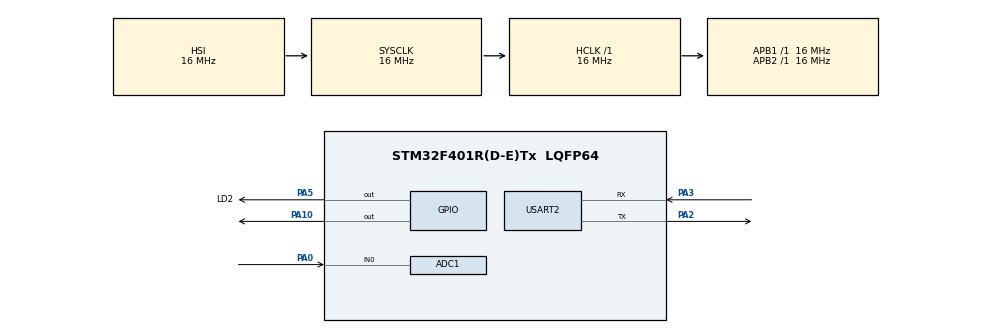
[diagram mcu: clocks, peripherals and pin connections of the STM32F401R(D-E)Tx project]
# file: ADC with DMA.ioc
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ADC1.Channel-4\#ChannelRegularConversion=ADC_CHANNEL_0
ADC1.NbrOfConversionFlag=1
ADC1.Rank-4\#ChannelRegularConversion=1
ADC1.SamplingTime-4\#ChannelRegularConversion=ADC_SAMPLETIME_3CYCLES
ADC1.master=1
Mcu.Family=STM32F4
Mcu.Name=STM32F401R(D-E)Tx
Mcu.Package=LQFP64
NVIC.PriorityGroup=NVIC_PRIORITYGROUP_4
PA0-WKUP.Signal=ADCx_IN0
PA10.Signal=GPIO_Output
PA2.Mode=Asynchronous
PA2.Signal=USART2_TX
PA3.Mode=Asynchronous
PA3.Signal=USART2_RX
PA5.GPIO_Label=LD2
PA5.Signal=GPIO_Output
ProjectManager.HeapSize=0x200
ProjectManager.StackSize=0x400
ProjectManager.TargetToolchain=STM32CubeIDE
RCC.AHBFreq_Value=16000000
RCC.APB1Freq_Value=16000000
RCC.APB2Freq_Value=16000000
RCC.CortexFreq_Value=16000000
RCC.HSE_VALUE=25000000
RCC.HSI_VALUE=16000000
RCC.LSE_VALUE=32768
RCC.SYSCLKFreq_VALUE=16000000
RCC.VCOOutputFreq_Value=192000000
SH.ADCx_IN0.0=ADC1_IN0,IN0
USART2.VirtualMode=VM_ASYNC
board=custom

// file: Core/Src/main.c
/* USER CODE BEGIN Header */
/**
  ******************************************************************************
  * @file           : main.c
  * @brief          : Main program body
  ******************************************************************************
  * @attention
  *
  * <h2><center>&copy; Copyright (c) 2021 STMicroelectronics.
  * All rights reserved.</center></h2>
  *
  * This software component is licensed by ST under BSD 3-Clause license,
  * the "License"; You may not use this file except in compliance with the
  * License. You may obtain a copy of the License at:
  *                        opensource.org/licenses/BSD-3-Clause
  *
  ******************************************************************************
  */
/* USER CODE END Header */
#include "main.h"

/* USER CODE BEGIN Includes */
#include <string.h>
#include <stdio.h>
/* USER CODE END Includes */

/* USER CODE BEGIN PD */
#define ADC_BUF_LEN 4096
/* USER CODE END PD */

ADC_HandleTypeDef hadc1;

UART_HandleTypeDef huart2;

/* USER CODE BEGIN PV */
uint16_t adc_buf[ADC_BUF_LEN];
/* USER CODE END PV */

void SystemClock_Config(void);
static void MX_GPIO_Init(void);
static void MX_ADC1_Init(void);
static void MX_USART2_UART_Init(void);

int main(void)
{

  /* MCU Configuration--------------------------------------------------------*/

  /* Reset of all peripherals, Initializes the Flash interface and the Systick. */
  HAL_Init();

  /* USER CODE BEGIN Init */

  uint16_t raw;
  char msg[10];
  /* USER CODE END Init */

  /* Configure the system clock */
  SystemClock_Config();

  /* Initialize all configured peripherals */
  MX_GPIO_Init();
  MX_ADC1_Init();
  MX_USART2_UART_Init();
  /* USER CODE BEGIN 2 */
  HAL_ADC_Start_DMA(&hadc1, (uint32_t*)adc_buf, ADC_BUF_LEN);
  /* USER CODE END 2 */

  /* Infinite loop */
  /* USER CODE BEGIN WHILE */
  while (1)
  {
	  // Test: Set GPIO pin high
	  HAL_GPIO_WritePin(GPIOA, GPIO_PIN_10, GPIO_PIN_SET);

	  // Get ADC value
	  HAL_ADC_Start(&hadc1);
	  HAL_ADC_PollForConversion(&hadc1, HAL_MAX_DELAY);
	  raw = HAL_ADC_GetValue(&hadc1);

	  // Test: Set GPIO pin low
	  HAL_GPIO_WritePin(GPIOA, GPIO_PIN_10, GPIO_PIN_RESET);

	  // Convert to string and print
	  sprintf(msg, "%hu\r\n", raw);
	  HAL_UART_Transmit(&huart2, (uint8_t*)msg, strlen(msg), HAL_MAX_DELAY);

	  // Pretend we have to do something else for a while
	  HAL_Delay(1);
    /* USER CODE END WHILE */

  }
}

void SystemClock_Config(void)
{
  RCC_OscInitTypeDef RCC_OscInitStruct = {0};
  RCC_ClkInitTypeDef RCC_ClkInitStruct = {0};

  /** Configure the main internal regulator output voltage
  */
  __HAL_RCC_PWR_CLK_ENABLE();
  __HAL_PWR_VOLTAGESCALING_CONFIG(PWR_REGULATOR_VOLTAGE_SCALE2);
  /** Initializes the RCC Oscillators according to the specified parameters
  * in the RCC_OscInitTypeDef structure.
  */
  RCC_OscInitStruct.OscillatorType = RCC_OSCILLATORTYPE_HSI;
  RCC_OscInitStruct.HSIState = RCC_HSI_ON;
  RCC_OscInitStruct.HSICalibrationValue = RCC_HSICALIBRATION_DEFAULT;
  RCC_OscInitStruct.PLL.PLLState = RCC_PLL_NONE;
  if (HAL_RCC_OscConfig(&RCC_OscInitStruct) != HAL_OK)
  {
    Error_Handler();
  }
  /** Initializes the CPU, AHB and APB buses clocks
  */
  RCC_ClkInitStruct.ClockType = RCC_CLOCKTYPE_HCLK|RCC_CLOCKTYPE_SYSCLK
                              |RCC_CLOCKTYPE_PCLK1|RCC_CLOCKTYPE_PCLK2;
  RCC_ClkInitStruct.SYSCLKSource = RCC_SYSCLKSOURCE_HSI;
  RCC_ClkInitStruct.AHBCLKDivider = RCC_SYSCLK_DIV1;
  RCC_ClkInitStruct.APB1CLKDivider = RCC_HCLK_DIV1;
  RCC_ClkInitStruct.APB2CLKDivider = RCC_HCLK_DIV1;

  if (HAL_RCC_ClockConfig(&RCC_ClkInitStruct, FLASH_LATENCY_0) != HAL_OK)
  {
    Error_Handler();
  }
}

static void MX_ADC1_Init(void)
{

  ADC_ChannelConfTypeDef sConfig = {0};

  /** Configure the global features of the ADC (Clock, Resolution, Data Alignment and number of conversion)
  */
  hadc1.Instance = ADC1;
  hadc1.Init.ClockPrescaler = ADC_CLOCK_SYNC_PCLK_DIV2;
  hadc1.Init.Resolution = ADC_RESOLUTION_12B;
  hadc1.Init.ScanConvMode = DISABLE;
  hadc1.Init.ContinuousConvMode = DISABLE;
  hadc1.Init.DiscontinuousConvMode = DISABLE;
  hadc1.Init.ExternalTrigConvEdge = ADC_EXTERNALTRIGCONVEDGE_NONE;
  hadc1.Init.ExternalTrigConv = ADC_SOFTWARE_START;
  hadc1.Init.DataAlign = ADC_DATAALIGN_RIGHT;
  hadc1.Init.NbrOfConversion = 1;
  hadc1.Init.DMAContinuousRequests = DISABLE;
  hadc1.Init.EOCSelection = ADC_EOC_SINGLE_CONV;
  if (HAL_ADC_Init(&hadc1) != HAL_OK)
  {
    Error_Handler();
  }
  /** Configure for the selected ADC regular channel its corresponding rank in the sequencer and its sample time.
  */
  sConfig.Channel = ADC_CHANNEL_0;
  sConfig.Rank = 1;
  sConfig.SamplingTime = ADC_SAMPLETIME_3CYCLES;
  if (HAL_ADC_ConfigChannel(&hadc1, &sConfig) != HAL_OK)
  {
    Error_Handler();
  }

}

static void MX_USART2_UART_Init(void)
{

  huart2.Instance = USART2;
  huart2.Init.BaudRate = 115200;
  huart2.Init.WordLength = UART_WORDLENGTH_8B;
  huart2.Init.StopBits = UART_STOPBITS_1;
  huart2.Init.Parity = UART_PARITY_NONE;
  huart2.Init.Mode = UART_MODE_TX_RX;
  huart2.Init.HwFlowCtl = UART_HWCONTROL_NONE;
  huart2.Init.OverSampling = UART_OVERSAMPLING_16;
  if (HAL_UART_Init(&huart2) != HAL_OK)
  {
    Error_Handler();
  }

}

static void MX_GPIO_Init(void)
{
  GPIO_InitTypeDef GPIO_InitStruct = {0};

  /* GPIO Ports Clock Enable */
  __HAL_RCC_GPIOA_CLK_ENABLE();

  /*Configure GPIO pin Output Level */
  HAL_GPIO_WritePin(GPIOA, LD2_Pin|GPIO_PIN_10, GPIO_PIN_RESET);

  /*Configure GPIO pins : LD2_Pin PA10 */
  GPIO_InitStruct.Pin = LD2_Pin|GPIO_PIN_10;
  GPIO_InitStruct.Mode = GPIO_MODE_OUTPUT_PP;
  GPIO_InitStruct.Pull = GPIO_NOPULL;
  GPIO_InitStruct.Speed = GPIO_SPEED_FREQ_LOW;
  HAL_GPIO_Init(GPIOA, &GPIO_InitStruct);

}

/* USER CODE BEGIN 4 */
// Called when first half of buffer is filled
void HAL_ADC_ConvHalfCpltCallback(ADC_HandleTypeDef* hadc) {
  HAL_GPIO_WritePin(LD2_GPIO_Port, LD2_Pin, GPIO_PIN_SET);
}

// Called when buffer is completely filled
void HAL_ADC_ConvCpltCallback(ADC_HandleTypeDef* hadc) {
  HAL_GPIO_WritePin(LD2_GPIO_Port, LD2_Pin, GPIO_PIN_RESET);
}
/* USER CODE END 4 */

void Error_Handler(void)
{
  __disable_irq();
  while (1)
  {
  }
}

/************************ (C) COPYRIGHT STMicroelectronics *****END OF FILE****/
